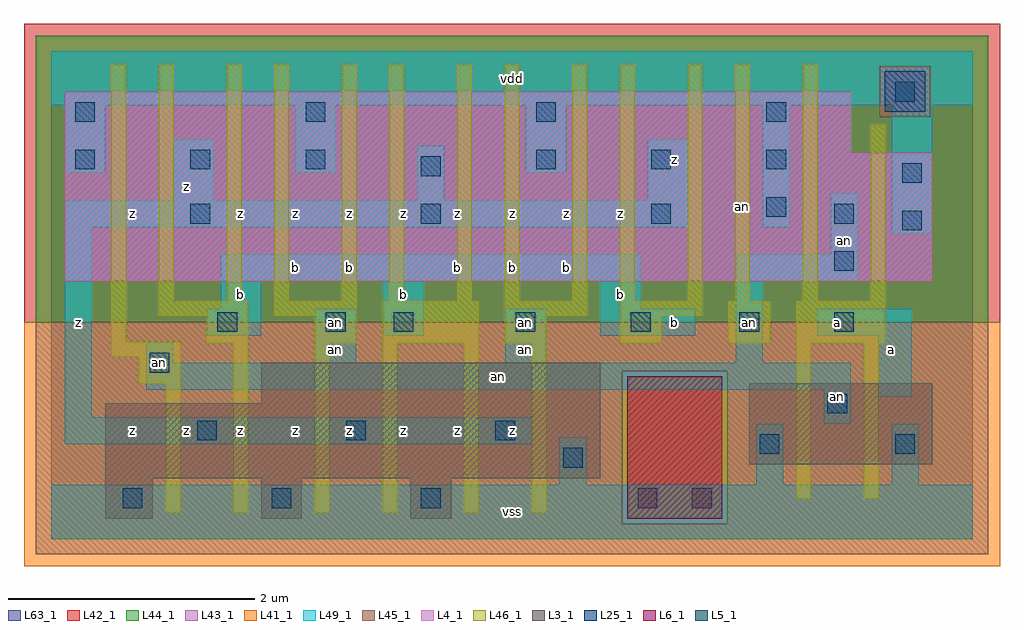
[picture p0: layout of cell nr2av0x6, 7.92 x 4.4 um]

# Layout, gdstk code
import gdstk
lib = gdstk.Library(unit=1e-6, precision=1e-09)
def R(c, l, rs):  # rectangles x0, y0, x1, y1
    for r in rs: c.add(gdstk.rectangle(r[:2], r[2:], *l))
def A(c, l, x, y, w, h, nx, ny, dx, dy):  # array of equal rectangles
    R(c, l, [(x+i*dx, y+j*dy, x+i*dx+w, y+j*dy+h) for i in range(nx) for j in range(ny)])
L3_1 = (3, 1)
L4_1 = (4, 1)
L5_1 = (5, 1)
L6_1 = (6, 1)
L25_1 = (25, 1)
L41_1 = (41, 1)
L42_1 = (42, 1)
L43_1 = (43, 1)
L44_1 = (44, 1)
L45_1 = (45, 1)
L46_1 = (46, 1)
L49_1 = (49, 1)
L63_1 = (63, 1)

nr2av0x6 = lib.new_cell('nr2av0x6')
R(nr2av0x6, L3_1, [(0.44,0.165,0.825,0.495), (1.705,0.165,2.035,0.495), (2.915,0.165,3.245,0.495), (0.44,0.495,4.455,1.1), (5.665,0.605,7.15,1.265), (1.705,1.1,4.455,1.43)])
R(nr2av0x6, L4_1, [(0.11,2.09,7.15,3.135), (0.11,3.135,6.49,3.63)])
R(nr2av0x6, L5_1, [(6.765,3.465,7.095,3.795)])
R(nr2av0x6, L6_1, [(4.675,0.165,5.445,1.32)])
A(nr2av0x6, L25_1, 0.58, 0.25, 0.16, 0.16, 3, 1, 1.21, 0)
A(nr2av0x6, L25_1, 1.185, 0.8, 0.16, 0.16, 3, 1, 1.21, 0)
A(nr2av0x6, L25_1, 1.13, 2.56, 0.16, 0.16, 3, 1, 1.87, 0)
A(nr2av0x6, L25_1, 0.195, 3, 0.16, 0.16, 3, 1, 0.935, 0)
A(nr2av0x6, L25_1, 3.935, 3, 0.16, 0.16, 3, 1, 0.935, 0)
A(nr2av0x6, L25_1, 0.195, 3.385, 0.16, 0.16, 4, 1, 1.87, 0)
R(nr2av0x6, L25_1, [(4.76,0.25,4.92,0.41), (5.2,0.25,5.36,0.41), (4.155,0.58,4.315,0.74), (5.75,0.69,5.91,0.85), (6.85,0.69,7.01,0.85), (6.3,1.02,6.46,1.18), (0.8,1.35,0.96,1.51), (1.35,1.68,1.51,1.84), (2.23,1.68,2.39,1.84), (2.78,1.68,2.94,1.84), (3.77,1.68,3.93,1.84), (4.705,1.68,4.865,1.84), (5.585,1.68,5.745,1.84), (6.355,1.68,6.515,1.84), (6.355,2.175,6.515,2.335), (6.905,2.505,7.065,2.665), (6.355,2.56,6.515,2.72), (5.805,2.615,5.965,2.775), (6.905,2.89,7.065,3.05), (3,2.945,3.16,3.105), (6.85,3.55,7.01,3.71)])
R(nr2av0x6, L41_1, [(-0.22,-0.22,7.7,1.76)])
R(nr2av0x6, L42_1, [(-0.22,1.76,7.7,4.18)])
R(nr2av0x6, L43_1, [(0.44,0.165,0.825,0.495), (1.705,0.165,2.035,0.495), (2.915,0.165,3.245,0.495), (4.675,0.165,5.445,1.32), (0.44,0.495,4.455,1.1), (5.665,0.605,7.15,1.265), (1.705,1.1,4.455,1.43), (0.11,2.09,7.15,3.135), (0.11,3.135,6.49,3.63), (6.765,3.465,7.095,3.795)])
R(nr2av0x6, L44_1, [(4.635,0.125,5.485,1.36), (-0.125,1.76,7.605,3.425), (-0.125,3.425,6.725,3.835), (7.135,3.425,7.605,3.835), (-0.125,3.835,7.605,4.085)])
R(nr2av0x6, L45_1, [(-0.125,-0.125,7.605,0.125), (-0.125,0.125,4.635,1.36), (5.485,0.125,7.605,1.36), (-0.125,1.36,7.605,1.76), (6.725,3.425,7.135,3.835)])
R(nr2av0x6, L46_1, [(0.93,0.215,1.05,1.26), (1.48,0.215,1.6,1.59), (2.14,0.215,2.26,1.59), (2.69,0.215,2.81,1.59), (3.35,0.215,3.47,1.59), (3.9,0.215,4.02,1.59), (6.045,0.325,6.165,1.59), (6.595,0.325,6.715,1.59), (0.71,1.26,1.05,1.48), (0.49,1.48,1.05,1.6), (1.26,1.59,1.6,1.81), (2.14,1.59,2.48,1.81), (2.69,1.59,3.47,1.93), (3.68,1.59,4.02,1.81), (4.615,1.59,4.955,1.81), (5.495,1.59,5.835,1.93), (6.045,1.59,6.77,1.93), (0.49,1.6,0.61,3.855), (0.875,1.81,1.6,1.93), (1.81,1.81,2.48,1.93), (3.68,1.81,4.35,1.93), (4.615,1.81,5.285,1.93), (0.875,1.93,0.995,3.855), (1.425,1.93,1.545,3.855), (1.81,1.93,1.93,3.855), (2.36,1.93,2.48,3.855), (2.745,1.93,2.865,3.855), (3.295,1.93,3.415,3.855), (3.68,1.93,3.8,3.855), (4.23,1.93,4.35,3.855), (4.615,1.93,4.735,3.855), (5.165,1.93,5.285,3.855), (5.55,1.93,5.67,3.855), (6.1,1.93,6.22,3.855), (6.65,1.93,6.77,3.36)])
A(nr2av0x6, L49_1, 0.11, 2.97, 0.33, 0.55, 3, 1, 1.87, 0)
R(nr2av0x6, L49_1, [(0,0,7.48,0.44), (4.125,0.44,4.345,0.825), (5.72,0.44,5.94,0.935), (6.82,0.44,7.04,0.935), (0.11,0.77,3.905,0.99), (6.27,0.935,6.49,1.21), (0.11,0.99,0.33,2.53), (6.71,1.155,6.985,1.65), (0.77,1.21,6.49,1.43), (0.77,1.43,0.99,1.595), (2.145,1.43,2.475,1.87), (3.685,1.43,4.015,1.87), (5.555,1.43,5.775,2.09), (1.265,1.65,1.705,1.87), (2.695,1.65,3.025,2.09), (4.455,1.65,5.225,1.87), (6.215,1.65,6.985,1.87), (1.375,1.87,1.705,2.09), (4.455,1.87,4.785,2.09), (1.375,2.09,4.785,2.31), (5.555,2.09,6.545,2.31), (6.325,2.31,6.545,2.805), (6.82,2.475,7.15,3.52), (0.11,2.53,5.17,2.75), (5.775,2.53,5.995,3.52), (0.99,2.75,1.32,3.245), (2.97,2.75,3.19,3.19), (4.84,2.75,5.17,3.245), (0,3.52,7.48,3.96)])
R(nr2av0x6, L63_1, [(0,0,7.48,3.96)])
nr2av0x6.add(gdstk.Label('an', (0.88,1.43), layer=49, texttype=1))
nr2av0x6.add(gdstk.Label('an', (2.31,1.76), layer=49, texttype=1))
nr2av0x6.add(gdstk.Label('an', (3.85,1.76), layer=49, texttype=1))
nr2av0x6.add(gdstk.Label('an', (5.61,2.695), layer=46, texttype=1))
nr2av0x6.add(gdstk.Label('z', (0.66,0.88), layer=49, texttype=1))
nr2av0x6.add(gdstk.Label('z', (1.1,0.88), layer=49, texttype=1))
nr2av0x6.add(gdstk.Label('z', (0.22,1.76), layer=49, texttype=1))
nr2av0x6.add(gdstk.Label('z', (1.1,2.86), layer=49, texttype=1))
nr2av0x6.add(gdstk.Label('z', (0.66,2.64), layer=49, texttype=1))
nr2av0x6.add(gdstk.Label('z', (1.98,0.88), layer=49, texttype=1))
nr2av0x6.add(gdstk.Label('z', (2.42,0.88), layer=49, texttype=1))
nr2av0x6.add(gdstk.Label('z', (1.54,0.88), layer=49, texttype=1))
nr2av0x6.add(gdstk.Label('an', (2.31,1.54), layer=49, texttype=1))
nr2av0x6.add(gdstk.Label('b', (1.54,1.98), layer=49, texttype=1))
nr2av0x6.add(gdstk.Label('b', (1.98,2.2), layer=49, texttype=1))
nr2av0x6.add(gdstk.Label('b', (2.42,2.2), layer=49, texttype=1))
nr2av0x6.add(gdstk.Label('z', (1.54,2.64), layer=49, texttype=1))
nr2av0x6.add(gdstk.Label('z', (1.98,2.64), layer=49, texttype=1))
nr2av0x6.add(gdstk.Label('z', (2.42,2.64), layer=49, texttype=1))
nr2av0x6.add(gdstk.Label('vss', (3.74,0.22), layer=49, texttype=1))
nr2av0x6.add(gdstk.Label('z', (3.3,0.88), layer=49, texttype=1))
nr2av0x6.add(gdstk.Label('z', (3.74,0.88), layer=49, texttype=1))
nr2av0x6.add(gdstk.Label('z', (2.86,0.88), layer=49, texttype=1))
nr2av0x6.add(gdstk.Label('an', (3.85,1.54), layer=49, texttype=1))
nr2av0x6.add(gdstk.Label('b', (2.86,1.98), layer=49, texttype=1))
nr2av0x6.add(gdstk.Label('b', (3.3,2.2), layer=49, texttype=1))
nr2av0x6.add(gdstk.Label('b', (3.74,2.2), layer=49, texttype=1))
nr2av0x6.add(gdstk.Label('b', (4.18,2.2), layer=49, texttype=1))
nr2av0x6.add(gdstk.Label('z', (2.86,2.64), layer=49, texttype=1))
nr2av0x6.add(gdstk.Label('z', (3.3,2.64), layer=49, texttype=1))
nr2av0x6.add(gdstk.Label('z', (3.74,2.64), layer=49, texttype=1))
nr2av0x6.add(gdstk.Label('z', (4.18,2.64), layer=49, texttype=1))
nr2av0x6.add(gdstk.Label('vdd', (3.74,3.74), layer=49, texttype=1))
nr2av0x6.add(gdstk.Label('b', (5.06,1.76), layer=49, texttype=1))
nr2av0x6.add(gdstk.Label('an', (5.665,1.76), layer=49, texttype=1))
nr2av0x6.add(gdstk.Label('b', (4.62,1.98), layer=49, texttype=1))
nr2av0x6.add(gdstk.Label('z', (4.62,2.64), layer=49, texttype=1))
nr2av0x6.add(gdstk.Label('z', (5.06,3.08), layer=49, texttype=1))
nr2av0x6.add(gdstk.Label('an', (3.63,1.32), layer=49, texttype=1))
nr2av0x6.add(gdstk.Label('an', (6.38,1.155), layer=49, texttype=1))
nr2av0x6.add(gdstk.Label('a', (6.38,1.76), layer=49, texttype=1))
nr2av0x6.add(gdstk.Label('a', (6.82,1.54), layer=49, texttype=1))
nr2av0x6.add(gdstk.Label('an', (6.435,2.42), layer=49, texttype=1))

lib.write_gds('nr2av0x6.gds')
